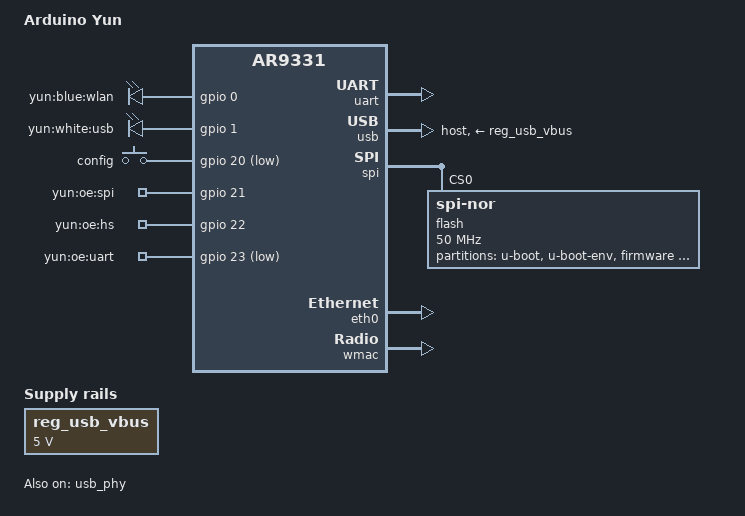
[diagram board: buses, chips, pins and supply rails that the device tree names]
// SPDX-License-Identifier: GPL-2.0-or-later OR MIT
/dts-v1/;

#include <dt-bindings/gpio/gpio.h>
#include <dt-bindings/input/input.h>

#include "ar9331.dtsi"

/ {
	model = "Arduino Yun";
	compatible = "arduino,yun", "qca,ar9331";

	aliases {
		serial0 = &uart;
	};

	chosen {
		bootargs = "console=ttyATH0,250000";
	};

	ahb {
		apb {
			pinmux_extended: pinmux@18040030 {
				compatible = "pinctrl-single";
				reg = <0x18040030 0x4>;

				pinctrl-single,bit-per-mux;
				pinctrl-single,register-width = <32>;
				pinctrl-single,function-mask = <0x1>;
				#pinctrl-cells = <2>;

				enable_gpio11: pinmux_enable_gpio11 {
					pinctrl-single,bits = <0x0 0x200 0x200>;
				};
			};

			pinmux_bootstrap: pinmux@180600ac {
				compatible = "pinctrl-single";
				reg = <0x180600ac 0x4>;

				pinctrl-single,bit-per-mux;
				pinctrl-single,register-width = <32>;
				pinctrl-single,function-mask = <0x1>;
				#pinctrl-cells = <2>;

				enable_gpio26_gpio27: pinmux_enable_gpio26_gpio27 {
					pinctrl-single,bits = <0x0 0x40000 0x40000>;
				};
			};
		};
	};

	leds {
		compatible = "gpio-leds";

		wlan {
			label = "yun:blue:wlan";
			gpios = <&gpio 0 GPIO_ACTIVE_HIGH>;
			linux,default-trigger = "phy0tpt";
		};

		usb {
			label = "yun:white:usb";
			gpios = <&gpio 1 GPIO_ACTIVE_HIGH>;
			trigger-sources = <&hub_port1>;
			linux,default-trigger = "usbport";
		};
	};

	keys {
		compatible = "gpio-keys";

		config {
			label = "config";
			linux,code = <BTN_0>;
			gpios = <&gpio 20 GPIO_ACTIVE_LOW>;
		};
	};

	gpio-export {
		compatible = "gpio-export";

		gpio_spi_enable {
			gpio-export,name = "yun:oe:spi";
			gpio-export,output = <0>;
			gpios = <&gpio 21 GPIO_ACTIVE_HIGH>;
		};

		gpio_handshake_enable {
			gpio-export,name = "yun:oe:hs";
			gpio-export,output = <0>;
			gpios = <&gpio 22 GPIO_ACTIVE_HIGH>;
		};

		gpio_uart_enable {
			gpio-export,name = "yun:oe:uart";
			gpio-export,output = <0>;
			gpios = <&gpio 23 GPIO_ACTIVE_LOW>;
		};
	};

	reg_usb_vbus: reg_usb_vbus {
		compatible = "regulator-fixed";
		regulator-name = "usb_vbus";
		regulator-min-microvolt = <5000000>;
		regulator-max-microvolt = <5000000>;
		enable-active-high;
	};
};

&uart {
	status = "okay";
};

&gpio {
	status = "okay";
};

&pinmux {
	pinctrl-names = "default";
	pinctrl-0 = <&jtag_disable_pins &switch_led_disable_pins>;
};

&switch_led_disable_pins {
	pinctrl-single,bits = <0x0 0x80 0xf8>;
};

&pinmux_extended {
	pinctrl-names = "default";
	pinctrl-0 = <&enable_gpio11>;
};

&pinmux_bootstrap {
	pinctrl-names = "default";
	pinctrl-0 = <&enable_gpio26_gpio27>;
};

&usb {
	status = "okay";

	#address-cells = <1>;
	#size-cells = <0>;
	dr_mode = "host";
	vbus-supply = <&reg_usb_vbus>;

	port@1 {
		#address-cells = <1>;
		#size-cells = <0>;
		reg = <1>;
		#trigger-source-cells = <0>;

		hub_port1: port@1 {
			reg = <1>;
			#trigger-source-cells = <0>;
		};
	};
};

&usb_phy {
	status = "okay";
};

&spi {
	status = "okay";

	num-cs = <1>;

	flash@0 {
		compatible = "jedec,spi-nor";
		reg = <0>;
		spi-max-frequency = <50000000>;

		partitions {
			compatible = "fixed-partitions";
			#address-cells = <1>;
			#size-cells = <1>;

			partition@0 {
				label = "u-boot";
				reg = <0x0 0x40000>;
				read-only;
			};

			partition@40000 {
				label = "u-boot-env";
				reg = <0x40000 0x10000>;
			};

			partition@50000 {
				compatible = "denx,uimage";
				label = "firmware";
				reg = <0x50000 0xf90000>;
			};

			partition@fe0000 {
				label = "nvram";
				reg = <0xfe0000 0x10000>;
			};

			art: partition@ff0000 {
				label = "art";
				reg = <0xff0000 0x10000>;
				read-only;
			};
		};
	};
};

&eth0 {
	status = "okay";
};

&eth1 {
	status = "okay";

	compatible = "syscon", "simple-mfd";
};

&wmac {
	status = "okay";

	mtd-cal-data = <&art 0x1000>;
};
